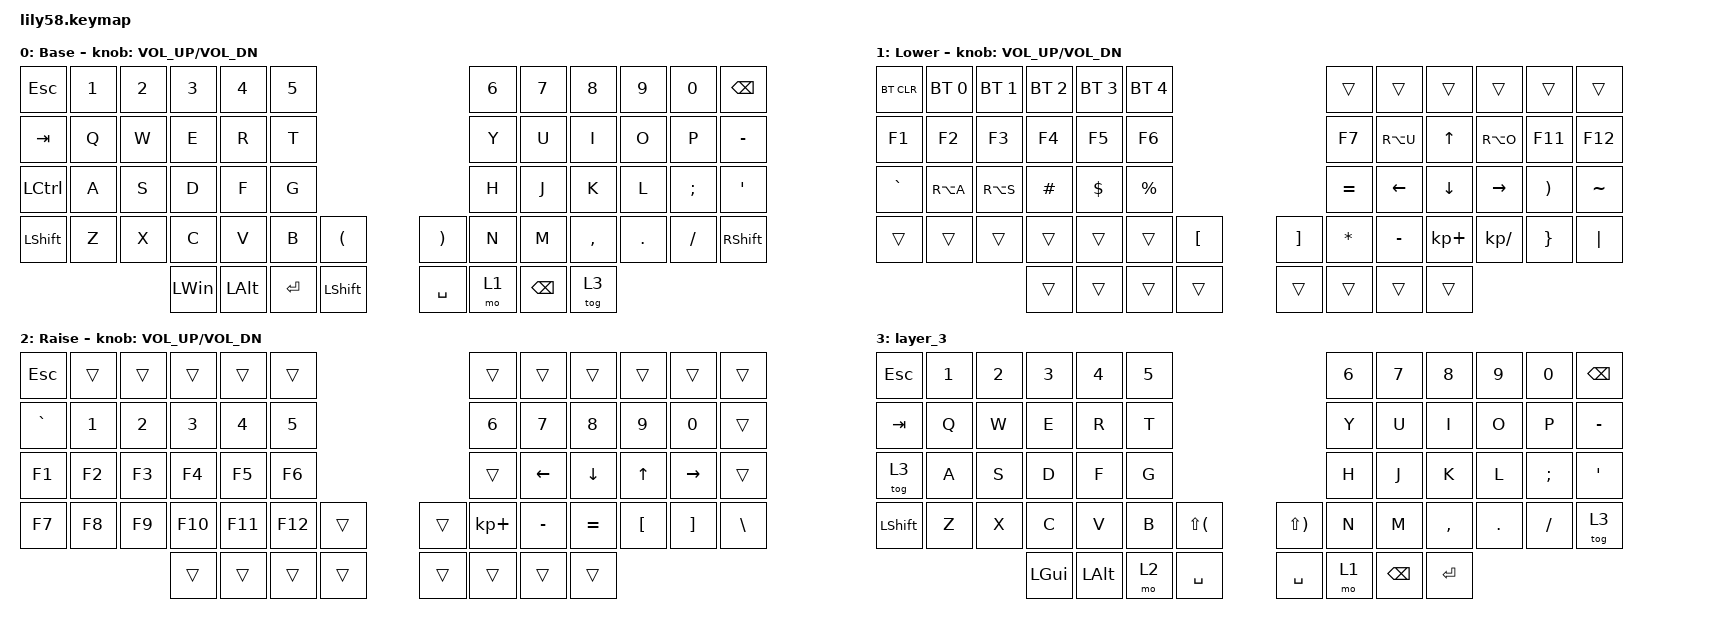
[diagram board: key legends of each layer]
/*
 * Copyright (c) 2020 The ZMK Contributors
 *
 * SPDX-License-Identifier: MIT
 */

#include <behaviors.dtsi>
#include <dt-bindings/zmk/bt.h>
#include <dt-bindings/zmk/keys.h>

/ {
    behaviors {
        hml: hml {
            compatible = "zmk,behavior-hold-tap";
            label = "HML";
            bindings = <&kp>, <&kp>;

            #binding-cells = <2>;
            tapping-term-ms = <280>;
            quick-tap-ms = <175>;
            require-prior-idle-ms = <100>;
            flavor = "balanced";
            hold-trigger-key-positions = <53 52 51 50 6 7 8 9 10 11 18 19 20 21 22 23 30 31 32 33 34 35 44 45 46 47 48 49 54 55 56 57 43>;
            hold-trigger-on-release;
        };

        hmr: hmr {
            compatible = "zmk,behavior-hold-tap";
            label = "HMR";
            bindings = <&kp>, <&kp>;

            #binding-cells = <2>;
            tapping-term-ms = <280>;
            quick-tap-ms = <175>;
            require-prior-idle-ms = <100>;
            flavor = "balanced";
            hold-trigger-key-positions = <0 1 2 3 4 5 12 13 14 15 16 17 24 25 26 27 28 29 36 37 38 39 40 41 50 51 52 53 42 54 55 56 57>;
            hold-trigger-on-release;
        };
    };

    keymap {
        compatible = "zmk,keymap";

        default_layer {
            // ------------------------------------------------------------------------------------------------------------
            // |  ESC  |  1  |  2  |  3   |  4   |  5   |                   |  6   |  7    |  8    |  9   |   0   |   `   |
            // |  TAB  |  Q  |  W  |  E   |  R   |  T   |                   |  Y   |  U    |  I    |  O   |   P   |   -   |
            // |  CTRL |  A  |  S  |  D   |  F   |  G   |                   |  H   |  J    |  K    |  L   |   ;   |   '   |
            // | SHIFT |  Z  |  X  |  C   |  V   |  B   |   "["  |  |  "]"  |  N   |  M    |  ,    |  .   |   /   | SHIFT |
            //                     | ALT  | GUI  | LOWER|  SPACE |  | ENTER | RAISE| BSPC  | GUI   |

            display-name = "Base";
            bindings = <
&kp ESC           &kp N1  &kp N2  &kp N3        &kp N4        &kp N5                                                    &kp N6  &kp N7    &kp N8     &kp N9   &kp N0    &kp BACKSPACE
&kp TAB           &kp Q   &kp W   &kp E         &kp R         &kp T                                                     &kp Y   &kp U     &kp I      &kp O    &kp P     &kp MINUS
&kp LEFT_CONTROL  &kp A   &kp S   &kp D         &kp F         &kp G                                                     &kp H   &kp J     &kp K      &kp L    &kp SEMI  &kp SQT
&kp LEFT_SHIFT    &kp Z   &kp X   &kp C         &kp V         &kp B      &kp LEFT_PARENTHESIS    &kp RIGHT_PARENTHESIS  &kp N   &kp M     &kp COMMA  &kp DOT  &kp FSLH  &kp RIGHT_SHIFT
                                  &kp LEFT_WIN  &kp LEFT_ALT  &kp ENTER  &kp LEFT_SHIFT          &kp SPACE              &mo 1   &kp BSPC  &tog 3
            >;

            sensor-bindings = <&inc_dec_kp C_VOL_UP C_VOL_DN>;
        };

        lower_layer {
            // ------------------------------------------------------------------------------------------------------------
            // | BTCLR | BT1 | BT2 |  BT3 |  BT4 |  BT5 |                   |      |       |       |      |       |       |
            // |  F1   |  F2 |  F3 |  F4  |  F5  |  F6  |                   |  F7  |  F8   |  F9   |  F10 |  F11  |  F12  |
            // |   `   |  !  |  @  |  #   |  $   |  %   |                   |  ^   |  &    |  *    |  (   |   )   |   ~   |
            // |       |     |     |      |      |      |        |  |       |      |  _    |  +    |  {   |   }   |  "|"  |
            //                     |      |      |      |        |  |       |      |       |       |

            display-name = "Lower";
            bindings = <
&bt BT_CLR  &bt BT_SEL 0  &bt BT_SEL 1  &bt BT_SEL 2  &bt BT_SEL 3  &bt BT_SEL 4                                         &trans        &trans     &trans       &trans         &trans    &trans
&kp F1      &kp F2        &kp F3        &kp F4        &kp F5        &kp F6                                               &kp F7        &kp RA(U)  &kp UP       &kp RA(O)      &kp F11   &kp F12
&kp GRAVE   &kp RA(A)     &kp RA(S)     &kp HASH      &kp DOLLAR    &kp PRCNT                                            &kp EQUAL     &kp LEFT   &kp DOWN     &kp RIGHT      &kp RPAR  &kp TILDE
&trans      &trans        &trans        &trans        &trans        &trans        &kp LEFT_BRACKET    &kp RIGHT_BRACKET  &kp ASTERISK  &kp MINUS  &kp KP_PLUS  &kp KP_DIVIDE  &kp RBRC  &kp PIPE
                                        &trans        &trans        &trans        &trans              &trans             &trans        &trans     &trans
            >;

            sensor-bindings = <&inc_dec_kp C_VOL_UP C_VOL_DN>;
        };

        raise_layer {
            // ------------------------------------------------------------------------------------------------------------
            // |       |     |     |      |      |      |                   |      |       |       |      |       |       |
            // |   `   |  1  |  2  |  3   |  4   |  5   |                   |  6   |   7   |   8   |  9   |   0   |       |
            // |   F1  |  F2 |  F3 |  F4  |  F5  |  F6  |                   |      |   <-  |   v   |  ^   |  ->   |       |
            // |   F7  |  F8 |  F9 |  F10 |  F11 |  F12 |        |  |       |  +   |   -   |   =   |  [   |   ]   |   \   |
            //                     |      |      |      |        |  |       |      |       |       |

            display-name = "Raise";
            bindings = <
&kp ESCAPE  &trans  &trans  &trans   &trans   &trans                     &trans       &trans     &trans     &trans    &trans     &trans
&kp GRAVE   &kp N1  &kp N2  &kp N3   &kp N4   &kp N5                     &kp N6       &kp N7     &kp N8     &kp N9    &kp N0     &trans
&kp F1      &kp F2  &kp F3  &kp F4   &kp F5   &kp F6                     &trans       &kp LEFT   &kp DOWN   &kp UP    &kp RIGHT  &trans
&kp F7      &kp F8  &kp F9  &kp F10  &kp F11  &kp F12  &trans    &trans  &kp KP_PLUS  &kp MINUS  &kp EQUAL  &kp LBKT  &kp RBKT   &kp BSLH
                            &trans   &trans   &trans   &trans    &trans  &trans       &trans     &trans
            >;

            sensor-bindings = <&inc_dec_kp C_VOL_UP C_VOL_DN>;
        };

        layer_3 {
            bindings = <
&kp ESC    &kp N1  &kp N2  &kp N3    &kp N4    &kp N5                                &kp N6  &kp N7    &kp N8     &kp N9   &kp N0    &kp BSPC
&kp TAB    &kp Q   &kp W   &kp E     &kp R     &kp T                                 &kp Y   &kp U     &kp I      &kp O    &kp P     &kp MINUS
&tog 3     &kp A   &kp S   &kp D     &kp F     &kp G                                 &kp H   &kp J     &kp K      &kp L    &kp SEMI  &kp SQT
&kp LSHFT  &kp Z   &kp X   &kp C     &kp V     &kp B   &kp LS(LPAR)    &kp LS(RPAR)  &kp N   &kp M     &kp COMMA  &kp DOT  &kp FSLH  &tog 3
                           &kp LGUI  &kp LALT  &mo 2   &kp SPACE       &kp SPACE     &mo 1   &kp BSPC  &kp RET
            >;
        };
    };
};
